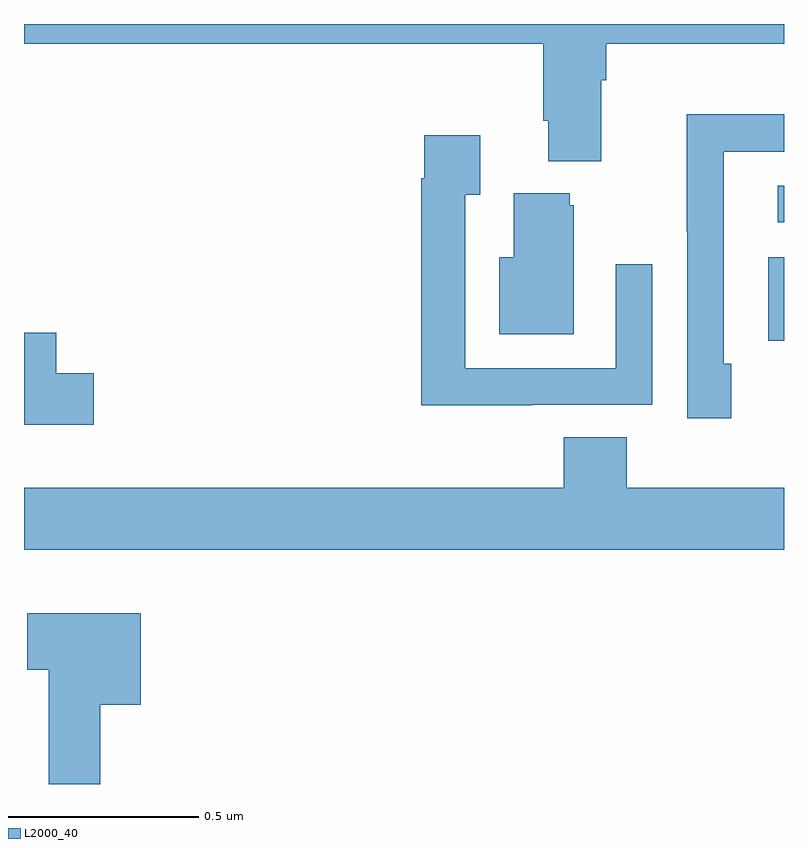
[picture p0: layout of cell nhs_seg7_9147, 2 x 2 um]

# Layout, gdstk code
import gdstk
lib = gdstk.Library(unit=1e-6, precision=1e-09)
def R(c, l, rs):  # rectangles x0, y0, x1, y1
    for r in rs: c.add(gdstk.rectangle(r[:2], r[2:], *l))
def P(c, l, *ps):  # polygons
    for p in ps: c.add(gdstk.Polygon(p, *l))
L2000_40 = (2000, 40)

nhs_seg7_9147 = lib.new_cell('nhs_seg7_9147')
R(nhs_seg7_9147, L2000_40, [(235.958,1001.167,236,1001.386), (235.983,1001.478,236,1001.574)])
P(nhs_seg7_9147, L2000_40, [(235.519,1001.852),(235.532,1001.852),(235.532,1001.948),(236,1001.948),(236,1002),(234,1002),(234,1001.948),(235.367,1001.948),(235.367,1001.746),(235.379,1001.746),(235.379,1001.639),(235.519,1001.639)],
  [(235.861,1001.106),(235.842,1001.106),(235.842,1001.664),(236,1001.664),(236,1001.762),(235.744,1001.762),(235.744,1001.455),(235.746,1001.455),(235.746,1000.962),(235.861,1000.962)],
  [(235.337,1000.998),(235.653,1000.998),(235.653,1001.368),(235.557,1001.368),(235.557,1001.094),(235.161,1001.094),(235.161,1001.551),(235.201,1001.551),(235.201,1001.707),(235.053,1001.707),(235.053,1001.594),(235.045,1001.594),(235.045,1000.997),(235.337,1000.997)],
  [(235.447,1001.523),(235.436,1001.523),(235.436,1001.554),(235.289,1001.554),(235.289,1001.386),(235.25,1001.386),(235.25,1001.183),(235.447,1001.183)],
  [(234.184,1001.081),(234.085,1001.081),(234.085,1001.188),(234,1001.188),(234,1000.946),(234.184,1000.946)],
  [(236,1000.78),(235.586,1000.78),(235.586,1000.913),(235.421,1000.913),(235.421,1000.78),(234,1000.78),(234,1000.616),(236,1000.616)],
  [(234.2,1000.208),(234.307,1000.208),(234.307,1000.45),(234.009,1000.45),(234.009,1000.301),(234.065,1000.301),(234.065,1000),(234.2,1000)])

lib.write_gds('nhs_seg7_9147.gds')
